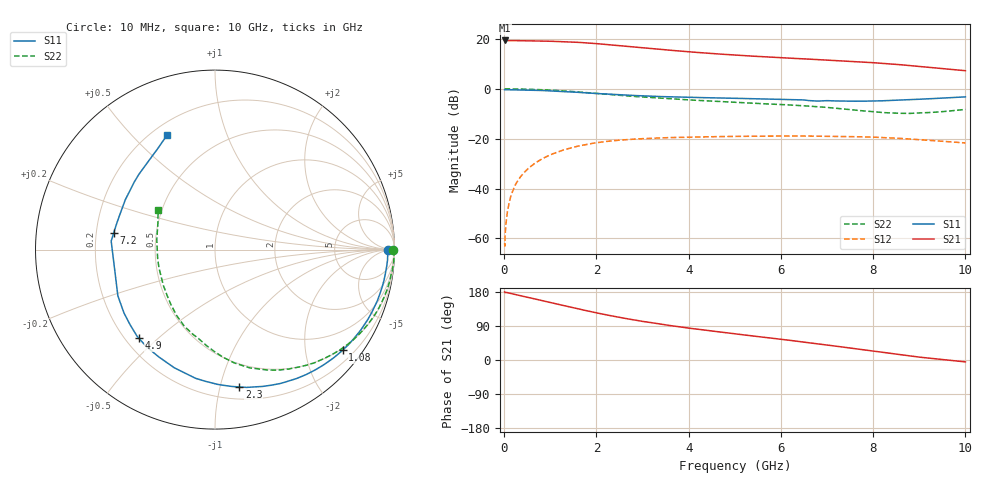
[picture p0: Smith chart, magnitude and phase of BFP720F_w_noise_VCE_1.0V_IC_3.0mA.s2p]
! Infineon Technologies  Discrete & RF Semiconductors
! BFP720F
! VCE =  1.0 V,  IC =  3.0 mA
! Common Emitter S-Parameters:  Jan 2016
# GHz  S  MA  R  50
!  f  S11  S21  S12  S22
! GHz  MAG  ANG  MAG  ANG  MAG  ANG  MAG  ANG
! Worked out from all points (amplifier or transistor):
!   233 points, 10 MHz to 10 GHz, reference 50 ohm
!   highest |S21| = 19.4 dB at 10 MHz (marker M1)
!   |S21| within 3 dB of that: start of sweep to 3.04 GHz
!   unconditionally stable (mu >= 1): start of sweep to 10.3 MHz; 9.151 GHz to end of sweep
!   at 200 MHz: K = 0.02, MSG = 29.8 dB, |S12| = -40.4 dB
!   at 1.74 GHz: K = 0.17, MSG = 20.5 dB, |S12| = -22.4 dB
!   at 10 GHz: K = 1.08, MAG = 12.7 dB, |S12| = -21.7 dB
!   lowest NFmin = 0.40 dB at 450 MHz
!   S11 on the Smith chart (normalised r, x): 10 MHz: 53, -2; 1.08 GHz: 0.45, -2.82; 2.3 GHz: 0.30, -1.15; 4.9 GHz: 0.25, -0.44; 7.2 GHz: 0.27, +0.08; 10 GHz: 0.26, +0.63
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0.01  0.9628 -0.1  9.349 179.7  0.0008 1.4  0.9936 -0.2
0.015  0.9635 -0.4  9.251 178.9  0.0007 56.2  0.9968 -0.7
0.02  0.9642 -0.6  9.155 178.1  0.0011 92.6  1 -1.2
0.05  0.9626 -1.8  9.273 178.3  0.0024 88.4  0.9973 -1.4
0.095  0.963 -3.3  9.287 177.0  0.0046 87.4  0.9978 -2.5
0.26  0.9579 -9.0  9.272 172.2  0.0127 84.1  0.9943 -7.0
0.8  0.9297 -28.2  9.151 157.4  0.0384 70.8  0.9633 -21.7
1.08  0.9056 -38.2  8.959 149.6  0.0508 63.7  0.9355 -29.4
1.68  0.8421 -60.0  8.487 133.0  0.0736 49.0  0.8556 -45.6
2  0.8075 -70.7  8.08 124.5  0.0831 41.7  0.81 -53.5
2.3  0.7774 -79.9  7.632 117.2  0.0899 35.2  0.7686 -60.5
2.78  0.7386 -93.1  6.947 106.4  0.0977 26.2  0.7085 -69.8
3.4  0.7003 -106.9  6.174 94.5  0.1039 16.7  0.6486 -79.0
4  0.6749 -117.7  5.549 84.1  0.1077 8.9  0.6005 -85.8
4.9  0.651 -130.6  4.834 70.7  0.1111 -1.0  0.5437 -93.9
5.1  0.6449 -133.3  4.705 67.7  0.1116 -3.1  0.5317 -95.8
6.5  0.5995 -154.5  4.002 47.1  0.1133 -17.4  0.459 -112.0
6.8  0.5684 -172.4  3.86 42.6  0.1126 -20.5  0.437 -116.9
7.2  0.5718 170.7  3.682 36.4  0.1114 -24.6  0.4067 -124.5
8.4  0.5865 140.1  3.15 17.1  0.1038 -37.4  0.3282 -162.1
9  0.6194 126.2  2.817 7.6  0.0959 -43.3  0.3294 170.0
10  0.6909 112.8  2.313 -5.0  0.0823 -49.3  0.3872 144.9
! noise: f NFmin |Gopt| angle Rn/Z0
0.45  0.4  0.62  4  0.22
0.9  0.47  0.62  12  0.22
1.8  0.5  0.6  23  0.17
2.4  0.55  0.59  30  0.16
5.5  0.77  0.44  81  0.11
10  1.13  0.28  -126  0.14
